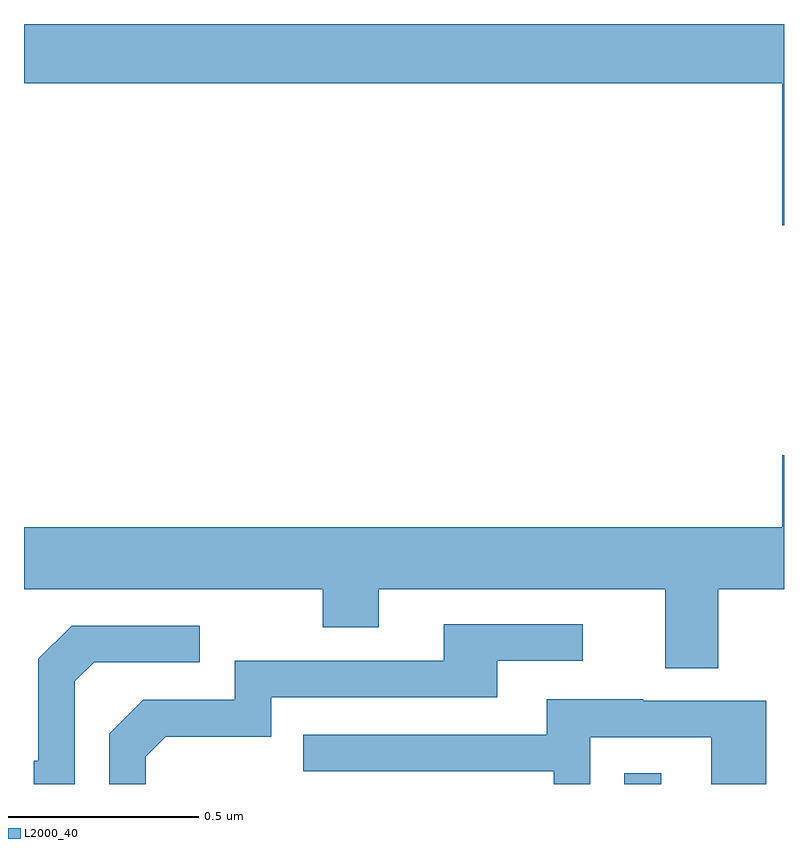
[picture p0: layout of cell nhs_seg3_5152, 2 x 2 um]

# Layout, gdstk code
import gdstk
lib = gdstk.Library(unit=1e-6, precision=1e-09)
def R(c, l, rs):  # rectangles x0, y0, x1, y1
    for r in rs: c.add(gdstk.rectangle(r[:2], r[2:], *l))
def P(c, l, *ps):  # polygons
    for p in ps: c.add(gdstk.Polygon(p, *l))
L2000_40 = (2000, 40)

nhs_seg3_5152 = lib.new_cell('nhs_seg3_5152')
R(nhs_seg3_5152, L2000_40, [(176.58,704.4,176.677,704.428)])
P(nhs_seg3_5152, L2000_40, [(177,706.4),(175,706.4),(175,706.244),(176.996,706.244),(176.996,705.87),(177,705.87)],
  [(176.827,704.912),(177,704.912),(177,705.265),(176.996,705.265),(176.996,705.076),(175,705.076),(175,704.912),(175.786,704.912),(175.786,704.813),(175.933,704.813),(175.933,704.912),(176.687,704.912),(176.687,704.704),(176.827,704.704)],
  [(175.32,704.472),(175.373,704.525),(175.65,704.525),(175.65,704.628),(176.245,704.628),(176.245,704.724),(176.47,704.724),(176.47,704.82),(176.105,704.82),(176.105,704.724),(175.554,704.724),(175.554,704.622),(175.314,704.622),(175.224,704.532),(175.224,704.4),(175.32,704.4)],
  [(175.134,704.67),(175.185,704.721),(175.462,704.721),(175.462,704.817),(175.125,704.817),(175.038,704.73),(175.038,704.461),(175.026,704.461),(175.026,704.4),(175.134,704.4)],
  [(176.49,704.523),(176.808,704.523),(176.808,704.4),(176.953,704.4),(176.953,704.619),(176.629,704.619),(176.629,704.623),(176.375,704.623),(176.375,704.529),(175.735,704.529),(175.735,704.433),(176.394,704.433),(176.394,704.4),(176.49,704.4)])

lib.write_gds('nhs_seg3_5152.gds')
